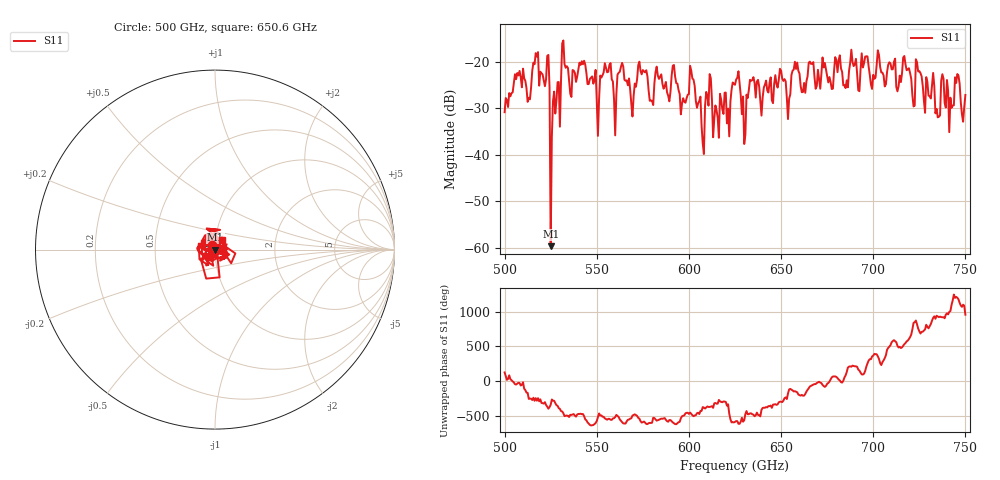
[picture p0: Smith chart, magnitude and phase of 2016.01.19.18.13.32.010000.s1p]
!Created with skrf (http://scikit-rf.org).
# GHz S RI R 50.0
!freq ReS11 ImS11
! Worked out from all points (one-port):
!   401 points, 500 GHz to 750 GHz, reference 50 ohm
!   lowest |S11| = -59.7 dB at 525 GHz (marker M1), VSWR 1.00, Z = 50.1 + j0.0289 ohm
!   |S11| at or under -10 dB: start of sweep to end of sweep
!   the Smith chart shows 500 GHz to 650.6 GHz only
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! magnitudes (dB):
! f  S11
! 500 GHz  -30.9
! 506.9 GHz  -22.4
! 513.1 GHz  -27.8
! 516.9 GHz  -18.2
! 523.1 GHz  -18.8
! 525 GHz  -59.7
! 531.2 GHz  -16.1
! 551.2 GHz  -28.1
! 556.2 GHz  -22.2
! 559.4 GHz  -28.1
! 562.5 GHz  -22.2
! 569.4 GHz  -31.8
! 573.8 GHz  -22.0
! 579.4 GHz  -28.4
! 593.8 GHz  -24.7
! 601.9 GHz  -23.6
! 607.5 GHz  -37.6
! 610.6 GHz  -29.5
! 615 GHz  -30.4
! 625 GHz  -25.0
! 629.4 GHz  -27.5
! 634.4 GHz  -24.0
! 656.2 GHz  -21.9
! 687.5 GHz  -20.3
! 718.8 GHz  -21.7
! 735 GHz  -32.0
! 745.6 GHz  -22.7
! 750 GHz  -27.2
